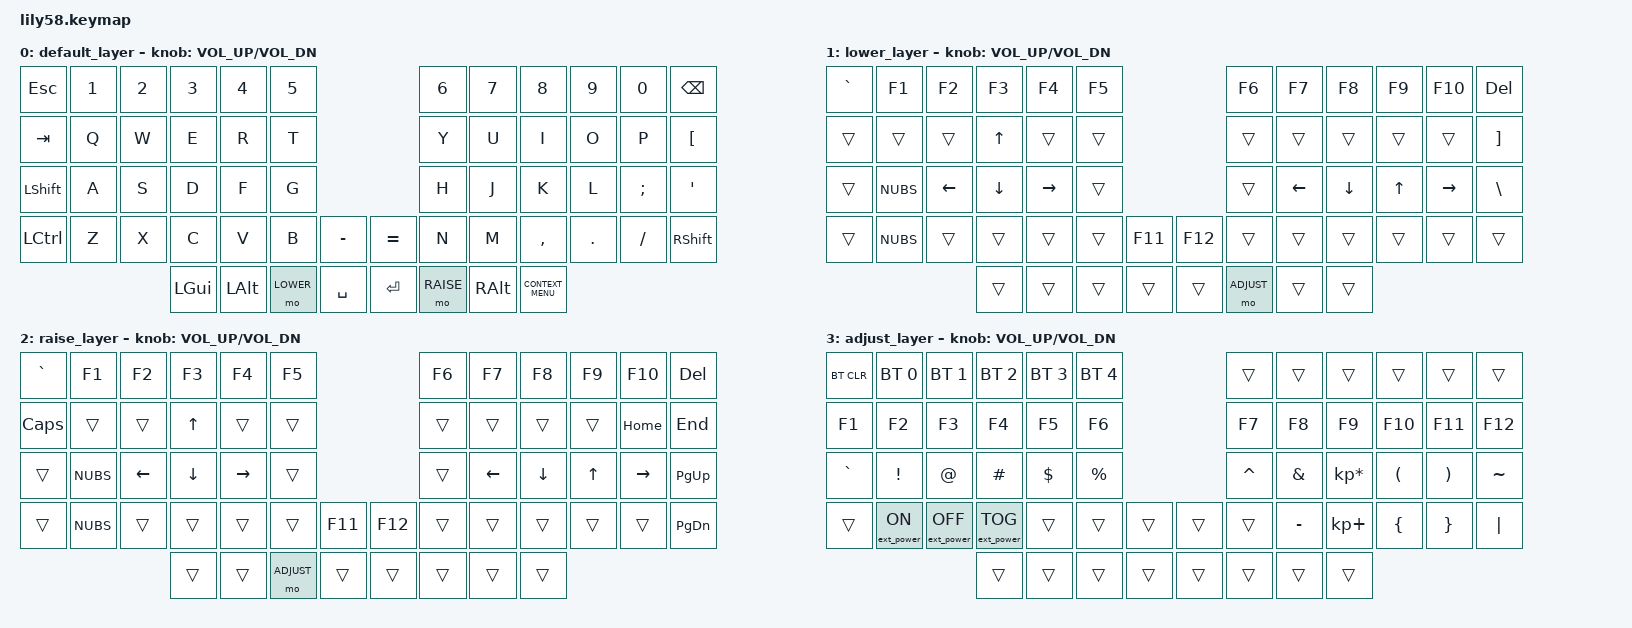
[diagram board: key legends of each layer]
/*
 * Copyright (c) 2020 The ZMK Contributors
 *
 * SPDX-License-Identifier: MIT
 */

#include <behaviors.dtsi>
#include <dt-bindings/zmk/keys.h>
#include <dt-bindings/zmk/bt.h>
#include <dt-bindings/zmk/ext_power.h>

#define DEFAULT       0
#define LOWER         1
#define RAISE         2
#define ADJUST        3

/ {
    keymap {
        compatible = "zmk,keymap";

        default_layer {
// ------------------------------------------------------------------------------------------------------------
// |  ESC  |  1  |  2  |  3   |  4   |  5   |                   |  6   |  7    |  8    |  9   |   0   | BSPC  |
// |  TAB  |  Q  |  W  |  E   |  R   |  T   |                   |  Y   |  U    |  I    |  O   |   P   |  "["  |
// | SHIFT |  A  |  S  |  D   |  F   |  G   |                   |  H   |  J    |  K    |  L   |   ;   |   '   |
// |  CTRL |  Z  |  X  |  C   |  V   |  B   |    -   |  |   =   |  N   |  M    |  ,    |  .   |   /   | SHIFT |
//                     | GUI  | ALT  | LOWER|  SPACE |  | ENTER | RAISE| ALT   | APP   |
            bindings = <
&kp ESC   &kp N1 &kp N2 &kp N3   &kp N4   &kp N5                          &kp N6     &kp N7   &kp N8    &kp N9  &kp N0   &kp BSPC
&kp TAB   &kp Q  &kp W  &kp E    &kp R    &kp T                           &kp Y      &kp U    &kp I     &kp O   &kp P    &kp LBKT
&kp LSHFT &kp A  &kp S  &kp D    &kp F    &kp G                           &kp H      &kp J    &kp K     &kp L   &kp SEMI &kp SQT
&kp LCTRL &kp Z  &kp X  &kp C    &kp V    &kp B      &kp MINUS  &kp EQUAL &kp N      &kp M    &kp COMMA &kp DOT &kp FSLH &kp RSHFT
                        &kp LGUI &kp LALT &mo LOWER  &kp SPACE  &kp RET   &mo RAISE  &kp RALT &kp K_CONTEXT_MENU
            >;

            sensor-bindings = <&inc_dec_kp C_VOL_UP C_VOL_DN>;
        };

        lower_layer {
// ------------------------------------------------------------------------------------------------------------
// |   `   |  F1  |  F2 |  F3  |  F4  |  F5  |                  |  F6  |  F7   |  F8   |  F9  |  F10  |  DEL  |
// |       |      |     |  ^   |      |      |                  |      |       |       |      |       |  "]"  |
// |       | NUBS |  <- |  v   |  ->  |      |                  |      |   <-  |   v   |  ^   |  ->   |   \   |
// |       | NUBS |     |      |      |      |  F11  |  |  F12  |      |       |       |      |       |       |
//                      |      |      |      |       |  |       |ADJUST|       |       |
            bindings = <
&kp GRAVE &kp F1   &kp F2   &kp F3   &kp F4    &kp F5                       &kp F6       &kp F7    &kp F8      &kp F9    &kp F10   &kp DEL
&trans    &trans   &trans   &kp UP   &trans    &trans                       &trans       &trans    &trans      &trans    &trans    &kp RBKT
&trans    &kp NUBS &kp LEFT &kp DOWN &kp RIGHT &trans                       &trans       &kp LEFT  &kp DOWN    &kp UP    &kp RIGHT &kp BACKSLASH
&trans    &kp NUBS &trans   &trans   &trans    &trans    &kp F11   &kp F12  &trans       &trans    &trans      &trans    &trans    &trans
                            &trans   &trans    &trans    &trans    &trans   &mo ADJUST   &trans    &trans
            >;

            sensor-bindings = <&inc_dec_kp C_VOL_UP C_VOL_DN>;
        };

        raise_layer {
// ------------------------------------------------------------------------------------------------------------
// |   `   |  F1  |  F2 |  F3  |  F4  |  F5  |                   |  F6  |  F7   |  F8   |  F9  |  F10  |  DEL  |
// | CAPS  |      |     |  ^   |      |      |                   |      |       |       |      | HOME  |  END  |
// |       | NUBS | <-  |  v   |  ->  |      |                   |      |   <-  |   v   |  ^   |  ->   | PG_UP |
// |       | NUBS |     |      |      |      |  F11   |  |  F12  |      |       |       |      |       | PG_DN |
//                      |      |      |ADJUST|        |  |       |      |       |       |
            bindings = <
&kp GRAVE &kp F1   &kp F2   &kp F3   &kp F4    &kp F5                         &kp F6    &kp F7    &kp F8    &kp F9   &kp F10   &kp DEL
&kp CAPS  &trans   &trans   &kp UP   &trans    &trans                         &trans    &trans    &trans    &trans   &kp HOME  &kp END
&trans    &kp NUBS &kp LEFT &kp DOWN &kp RIGHT &trans                         &trans    &kp LEFT  &kp DOWN  &kp UP   &kp RIGHT &kp PG_UP
&trans    &kp NUBS &trans   &trans   &trans    &trans      &kp F11  &kp F12   &trans    &trans    &trans    &trans   &trans    &kp PG_DN
                            &trans   &trans    &mo ADJUST  &trans   &trans    &trans    &trans    &trans
            >;

            sensor-bindings = <&inc_dec_kp C_VOL_UP C_VOL_DN>;
        };

        adjust_layer {
// ------------------------------------------------------------------------------------------------------------
// | BTCLR | BT1 | BT2 |  BT3 |  BT4 |  BT5 |                   |      |       |       |      |       |       |
// |  F1   |  F2 |  F3 |  F4  |  F5  |  F6  |                   |  F7  |  F8   |  F9   |  F10 |  F11  |  F12  |
// |   `   |  !  |  @  |  #   |  $   |  %   |                   |  ^   |  &    |  *    |  (   |   )   |   ~   |
// |       |     |     |      |      |      |        |  |       |      |  _    |  +    |  {   |   }   |  "|"  |
//                     |      |      |      |        |  |       |      |       |       |
            bindings = <
&bt BT_CLR &bt BT_SEL 0     &bt BT_SEL 1      &bt BT_SEL 2      &bt BT_SEL 3 &bt BT_SEL 4                 &trans    &trans    &trans          &trans    &trans    &trans
&kp F1     &kp F2           &kp F3            &kp F4            &kp F5       &kp F6                       &kp F7    &kp F8    &kp F9          &kp F10   &kp F11   &kp F12
&kp GRAVE  &kp EXCL         &kp AT            &kp HASH          &kp DOLLAR   &kp PRCNT                    &kp CARET &kp AMPS  &kp KP_MULTIPLY &kp LPAR  &kp RPAR  &kp TILDE
&trans     &ext_power EP_ON &ext_power EP_OFF &ext_power EP_TOG &trans       &trans    &trans   &trans    &trans    &kp MINUS &kp KP_PLUS     &kp LBRC  &kp RBRC  &kp PIPE
                                              &trans            &trans       &trans    &trans   &trans    &trans    &trans    &trans
            >;

            sensor-bindings = <&inc_dec_kp C_VOL_UP C_VOL_DN>;
        };
    };
};
